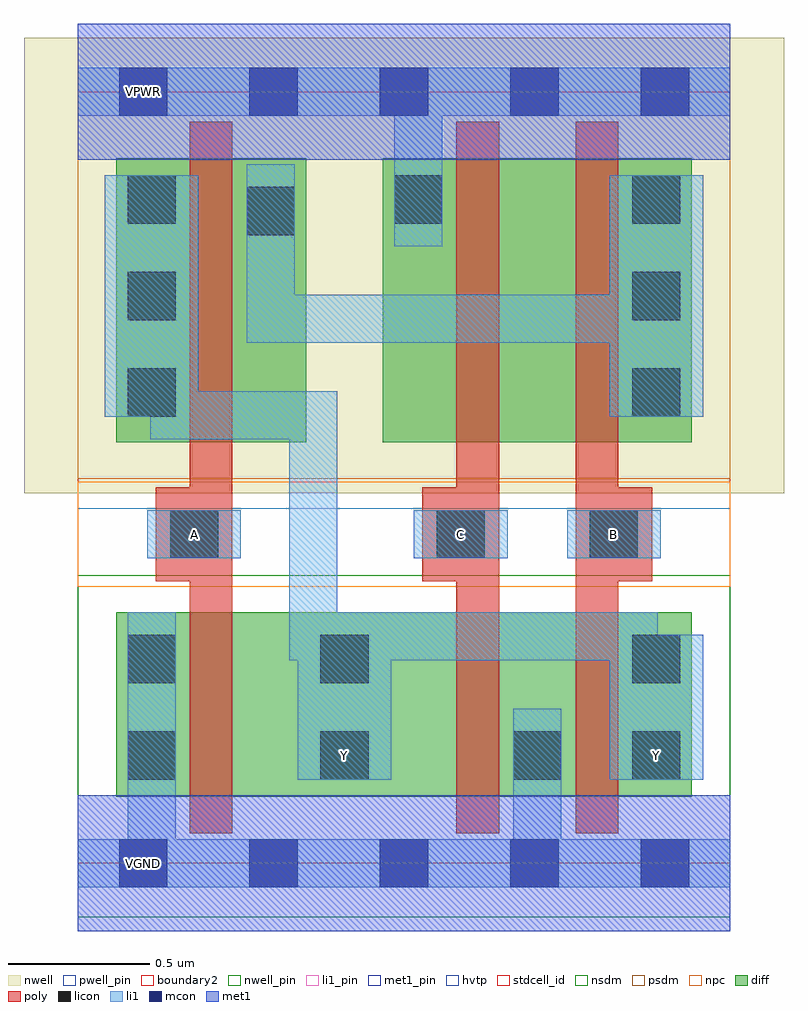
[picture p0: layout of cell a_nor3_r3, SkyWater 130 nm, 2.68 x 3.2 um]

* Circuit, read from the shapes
.subckt a_nor3_r3 A B C VGND VNB VPB VPWR Y
XM1 Y A VGND VNB sky130_fd_pr__nfet_01v8 w=0.65 l=0.15
XM2 VGND C Y VNB sky130_fd_pr__nfet_01v8 w=0.65 l=0.15
XM3 Y B VGND VNB sky130_fd_pr__nfet_01v8 w=0.65 l=0.15
XM4 n1 A Y VPB sky130_fd_pr__pfet_01v8_hvt w=1 l=0.15
XM5 n2 C VPWR VPB sky130_fd_pr__pfet_01v8_hvt w=1 l=0.15
XM6 n1 B n2 VPB sky130_fd_pr__pfet_01v8_hvt w=1 l=0.15
.ends

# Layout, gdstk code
import gdstk
lib = gdstk.Library(unit=1e-6, precision=1e-09)
def R(c, l, rs):  # rectangles x0, y0, x1, y1
    for r in rs: c.add(gdstk.rectangle(r[:2], r[2:], *l))
def A(c, l, x, y, w, h, nx, ny, dx, dy):  # array of equal rectangles
    R(c, l, [(x+i*dx, y+j*dy, x+i*dx+w, y+j*dy+h) for i in range(nx) for j in range(ny)])
nwell_pin = (64, 16)
nwell = (64, 20)
diff = (65, 20)
poly = (66, 20)
licon = (66, 44)
li1_pin = (67, 16)
li1 = (67, 20)
mcon = (67, 44)
met1_pin = (68, 16)
met1 = (68, 20)
hvtp = (78, 44)
stdcell_id = (81, 4)
nsdm = (93, 44)
psdm = (94, 20)
npc = (95, 20)
pwell_pin = (122, 16)
boundary2 = (236, 0)

a_nor3_r3 = lib.new_cell('a_nor3_r3')
R(a_nor3_r3, nwell_pin, [(0.145,2.635,0.315,2.805)])
R(a_nor3_r3, nwell, [(-0.19,1.305,2.49,2.91)])
R(a_nor3_r3, diff, [(0.135,0.235,0.94,0.885), (0.94,0.235,1.62,0.885), (1.62,0.235,2.165,0.885), (0.135,1.485,0.805,2.485), (1.075,1.485,1.62,2.485), (1.62,1.485,2.165,2.485)])
R(a_nor3_r3, poly, [(0.395,0.105,0.545,2.615), (1.335,0.105,1.485,2.615), (1.755,0.105,1.905,2.615), (0.275,0.995,0.545,1.325), (1.215,0.995,1.485,1.325), (1.755,0.995,2.025,1.325)])
A(a_nor3_r3, licon, 0.175, 0.295, 0.17, 0.17, 3, 1, 0.68, 0)
A(a_nor3_r3, licon, 0.175, 1.575, 0.17, 0.17, 1, 3, 0, 0.34)
A(a_nor3_r3, licon, 1.955, 1.575, 0.17, 0.17, 1, 3, 0, 0.34)
R(a_nor3_r3, licon, [(1.955,0.295,2.125,0.465), (0.175,0.635,0.345,0.805), (0.855,0.635,1.025,0.805), (1.955,0.635,2.125,0.805), (0.325,1.075,0.495,1.245), (1.265,1.075,1.435,1.245), (1.805,1.075,1.975,1.245), (0.595,2.215,0.765,2.385), (1.115,2.255,1.285,2.425)])
R(a_nor3_r3, li1_pin, [(0.855,0.295,1.025,0.465), (1.955,0.295,2.125,0.465), (0.325,1.075,0.495,1.245), (1.265,1.075,1.435,1.245), (1.805,1.075,1.975,1.245)])
R(a_nor3_r3, li1, [(0,-0.085,2.3,0.085), (0.175,-0.085,0.345,0.545), (1.535,-0.085,1.705,0.545), (0.175,0.295,0.345,0.885), (0.775,0.295,1.105,0.465), (0.775,0.295,1.105,0.805), (0.935,0.295,1.105,0.885), (1.875,0.295,2.205,0.465), (1.875,0.295,2.045,0.885), (1.875,0.295,2.205,0.805), (0.745,0.715,1.105,0.885), (0.745,0.715,0.915,1.665), (0.915,0.715,0.935,0.885), (0.915,0.715,0.935,0.885), (0.915,0.715,0.935,0.885), (0.915,0.715,0.935,0.885), (0.915,0.715,0.935,0.885), (0.915,0.715,0.935,0.885), (0.915,0.715,0.935,0.885), (0.915,0.715,0.935,0.885), (0.935,0.715,2.045,0.885), (0.245,1.075,0.575,1.245), (1.185,1.075,1.515,1.245), (1.725,1.075,2.055,1.245), (0.255,1.495,0.915,1.665), (0.255,1.495,0.425,2.425), (0.095,1.575,0.425,2.085), (1.875,1.575,2.205,2.085), (0.595,1.835,0.765,2.305), (0.595,1.835,2.045,2.005), (1.875,1.835,2.045,2.425), (0.095,1.915,0.425,2.425), (1.875,1.915,2.205,2.425), (0.595,2.005,0.765,2.135), (0.595,2.005,0.765,2.135), (0.595,2.005,0.765,2.135), (0.595,2.005,0.765,2.135), (0.595,2.135,0.765,2.465), (1.115,2.175,1.285,2.805), (0.095,2.255,0.425,2.425), (1.875,2.255,2.205,2.425), (0,2.635,2.3,2.805)])
A(a_nor3_r3, mcon, 0.145, -0.085, 0.17, 0.17, 5, 2, 0.46, 2.72)
R(a_nor3_r3, met1_pin, [(0.145,-0.085,0.315,0.085), (0.145,2.635,0.315,2.805)])
R(a_nor3_r3, met1, [(0,-0.24,2.3,0.24), (0,2.48,2.3,2.96)])
R(a_nor3_r3, hvtp, [(0,1.25,2.3,2.72)])
R(a_nor3_r3, stdcell_id, [(0,0,2.3,2.72)])
R(a_nor3_r3, nsdm, [(0,-0.19,2.3,1.015)])
R(a_nor3_r3, psdm, [(0,1.355,2.3,2.91)])
R(a_nor3_r3, npc, [(0,0.975,2.3,1.345)])
R(a_nor3_r3, pwell_pin, [(0.145,-0.085,0.315,0.085)])
R(a_nor3_r3, boundary2, [(0,0,2.3,2.72)])
a_nor3_r3.add(gdstk.Label('A', (0.41,1.16), layer=67, texttype=5))
a_nor3_r3.add(gdstk.Label('B', (1.89,1.16), layer=67, texttype=5))
a_nor3_r3.add(gdstk.Label('C', (1.35,1.16), layer=67, texttype=5))
a_nor3_r3.add(gdstk.Label('Y', (0.94,0.38), layer=67, texttype=5))
a_nor3_r3.add(gdstk.Label('Y', (2.04,0.38), layer=67, texttype=5))
a_nor3_r3.add(gdstk.Label('VGND', (0.23,0), layer=68, texttype=5))
a_nor3_r3.add(gdstk.Label('VPWR', (0.23,2.72), layer=68, texttype=5))
a_nor3_r3.add(gdstk.Label('VPB', (0.23,2.72), layer=64, texttype=5))
a_nor3_r3.add(gdstk.Label('VNB', (0.23,0), layer=64, texttype=59))

lib.write_gds('a_nor3_r3.gds')
